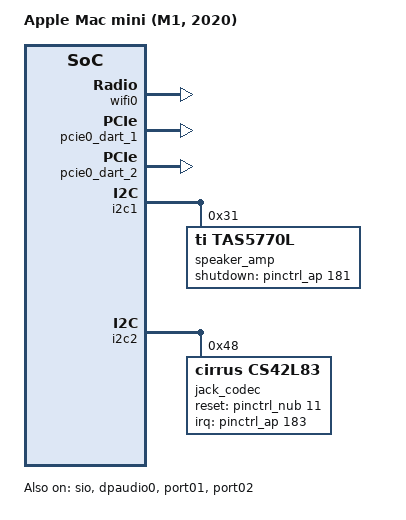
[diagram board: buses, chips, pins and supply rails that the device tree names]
// SPDX-License-Identifier: GPL-2.0+ OR MIT
/*
 * Apple Mac mini (M1, 2020)
 *
 * target-type: J274
 *
 * Copyright The Asahi Linux Contributors
 */

/dts-v1/;

#include "t8103.dtsi"
#include "t8103-jxxx.dtsi"

/ {
	compatible = "apple,j274", "apple,t8103", "apple,arm-platform";
	model = "Apple Mac mini (M1, 2020)";

	aliases {
		ethernet0 = &ethernet0;
		sio = &sio;
	};
};

&dcp {
	apple,connector-type = "HDMI-A";
};

/* remove once m1n1 enables sio nodes after setup */
&sio {
        status = "okay";
};

&dpaudio0 {
	status = "okay";
};

&bluetooth0 {
	brcm,board-type = "apple,atlantisb";
};

&wifi0 {
	brcm,board-type = "apple,atlantisb";
};

/*
 * Provide labels for the USB type C ports.
 */

&typec0 {
	label = "USB-C Back-left";
};

&typec1 {
	label = "USB-C Back-right";
};

/*
 * Force the bus number assignments so that we can declare some of the
 * on-board devices and properties that are populated by the bootloader
 * (such as MAC addresses).
 */

&port01 {
	bus-range = <2 2>;
	status = "okay";
};

&port02 {
	bus-range = <3 3>;
	status = "okay";
	ethernet0: ethernet@0,0 {
		reg = <0x30000 0x0 0x0 0x0 0x0>;
		/* To be filled by the loader */
		local-mac-address = [00 10 18 00 00 00];
	};
};

&pcie0_dart_1 {
	status = "okay";
};

&pcie0_dart_2 {
	status = "okay";
};

&i2c1 {
	speaker_amp: codec@31 {
		compatible = "ti,tas5770l", "ti,tas2770";
		reg = <0x31>;
		shutdown-gpios = <&pinctrl_ap 181 GPIO_ACTIVE_HIGH>;
		#sound-dai-cells = <0>;
		ti,imon-slot-no = <0>;
		ti,vmon-slot-no = <2>;
		ti,sdout-zero-fill;
	};
};

&i2c2 {
	status = "okay";

	jack_codec: codec@48 {
		compatible = "cirrus,cs42l83";
		reg = <0x48>;
		reset-gpios = <&pinctrl_nub 11 GPIO_ACTIVE_HIGH>;
		interrupt-parent = <&pinctrl_ap>;
		interrupts = <183 IRQ_TYPE_LEVEL_LOW>;
		#sound-dai-cells = <0>;
		cirrus,ts-inv = <1>;
		sound-name-prefix = "Jack";
	};
};

/ {
	sound {
		compatible = "apple,j274-macaudio", "apple,macaudio";
		model = "Mac mini J274";

		dai-link@0 {
			link-name = "Speaker";

			cpu {
				sound-dai = <&mca 0>;
			};
			codec {
				sound-dai = <&speaker_amp>;
			};
		};

		dai-link@1 {
			link-name = "Headphone Jack";

			cpu {
				sound-dai = <&mca 2>;
			};
			codec {
				sound-dai = <&jack_codec>;
			};
		};

	};
};

&gpu {
	apple,perf-base-pstate = <3>;
};

#include "hwmon-mini.dtsi"
